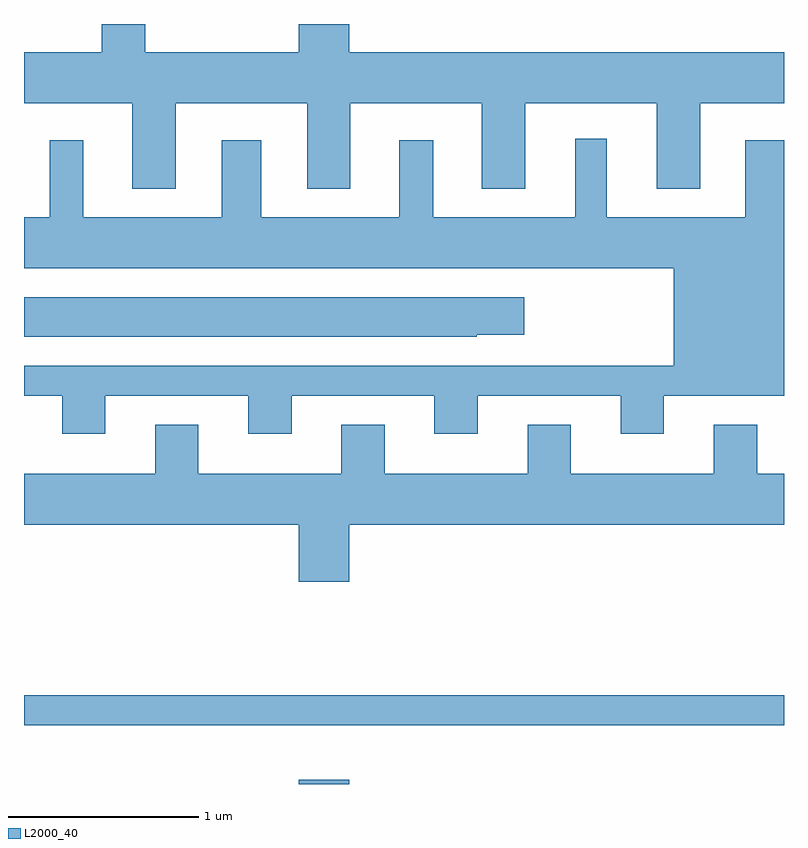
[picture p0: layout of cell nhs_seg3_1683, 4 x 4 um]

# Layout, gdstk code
import gdstk
lib = gdstk.Library(unit=1e-6, precision=1e-09)
def R(c, l, rs):  # rectangles x0, y0, x1, y1
    for r in rs: c.add(gdstk.rectangle(r[:2], r[2:], *l))
def P(c, l, *ps):  # polygons
    for p in ps: c.add(gdstk.Polygon(p, *l))
L2000_40 = (2000, 40)

nhs_seg3_1683 = lib.new_cell('nhs_seg3_1683')
R(nhs_seg3_1683, L2000_40, [(235.056,1217.892,235.324,1217.914), (233.611,1218.201,237.611,1218.359)])
P(nhs_seg3_1683, L2000_40, [(234.409,1221.476),(235.101,1221.476),(235.101,1221.026),(235.329,1221.026),(235.329,1221.476),(236.021,1221.476),(236.021,1221.026),(236.249,1221.026),(236.249,1221.476),(236.941,1221.476),(236.941,1221.026),(237.169,1221.026),(237.169,1221.476),(237.611,1221.476),(237.611,1221.744),(235.324,1221.744),(235.324,1221.892),(235.056,1221.892),(235.056,1221.744),(234.249,1221.744),(234.249,1221.892),(234.021,1221.892),(234.021,1221.744),(233.611,1221.744),(233.611,1221.476),(234.181,1221.476),(234.181,1221.026),(234.409,1221.026)],
  [(234.039,1219.936),(234.791,1219.936),(234.791,1219.736),(235.019,1219.736),(235.019,1219.936),(235.771,1219.936),(235.771,1219.736),(235.999,1219.736),(235.999,1219.936),(236.751,1219.936),(236.751,1219.736),(236.979,1219.736),(236.979,1219.936),(237.611,1219.936),(237.611,1221.279),(237.406,1221.279),(237.406,1220.874),(236.679,1220.874),(236.679,1221.288),(236.511,1221.288),(236.511,1220.874),(235.764,1220.874),(235.764,1221.279),(235.586,1221.279),(235.586,1220.874),(234.859,1220.874),(234.859,1221.279),(234.651,1221.279),(234.651,1220.874),(233.924,1220.874),(233.924,1221.279),(233.746,1221.279),(233.746,1220.874),(233.611,1220.874),(233.611,1220.606),(237.031,1220.606),(237.031,1220.094),(233.611,1220.094),(233.611,1219.936),(233.811,1219.936),(233.811,1219.736),(234.039,1219.736)],
  [(235.995,1220.256),(236.244,1220.256),(236.244,1220.454),(233.611,1220.454),(233.611,1220.246),(235.995,1220.246)],
  [(235.324,1219.256),(237.611,1219.256),(237.611,1219.524),(237.469,1219.524),(237.469,1219.784),(237.241,1219.784),(237.241,1219.524),(236.489,1219.524),(236.489,1219.784),(236.261,1219.784),(236.261,1219.524),(235.509,1219.524),(235.509,1219.784),(235.281,1219.784),(235.281,1219.524),(234.529,1219.524),(234.529,1219.784),(234.301,1219.784),(234.301,1219.524),(233.611,1219.524),(233.611,1219.256),(235.056,1219.256),(235.056,1218.956),(235.324,1218.956)])

lib.write_gds('nhs_seg3_1683.gds')
